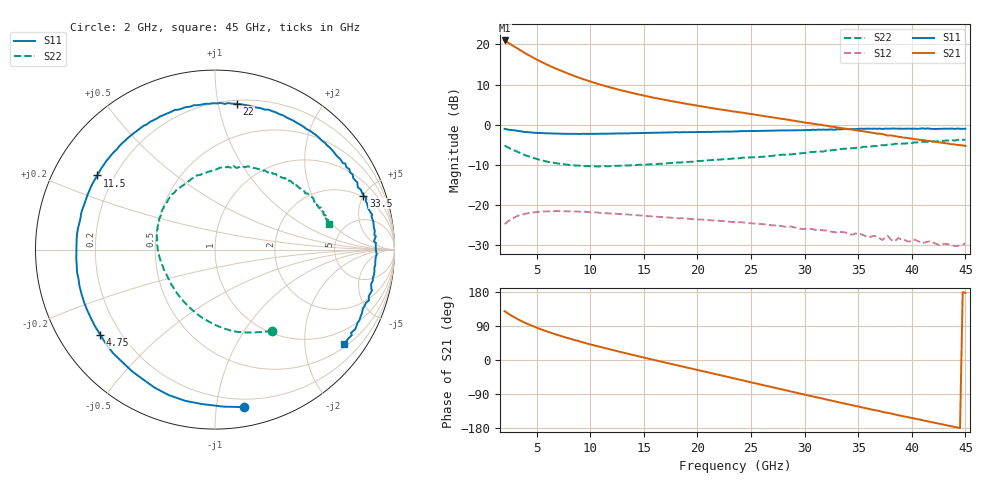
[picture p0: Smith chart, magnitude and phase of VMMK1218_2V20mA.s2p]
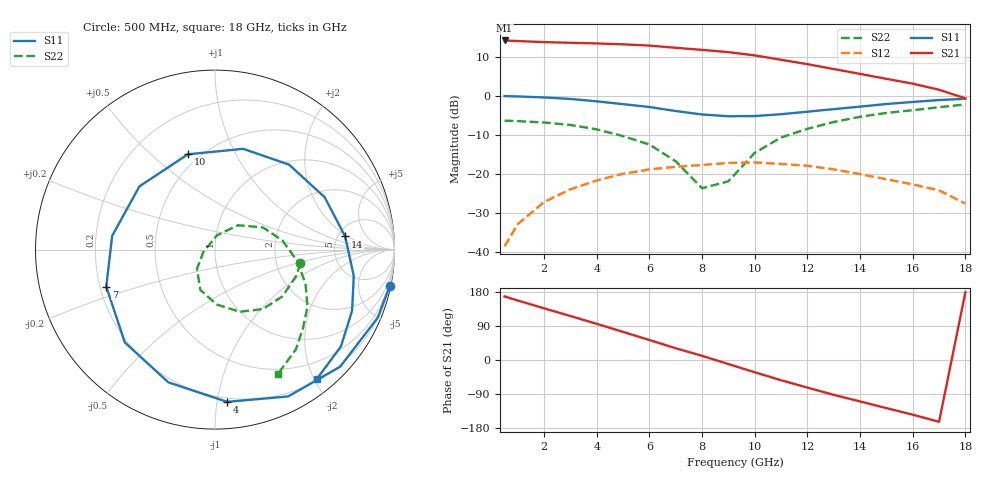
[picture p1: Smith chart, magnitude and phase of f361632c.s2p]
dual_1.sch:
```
<Qucs Schematic 0.0.18>
<Properties>
  <View=-84,-285,1289,1684,1,617,0>
  <Grid=10,10,1>
  <DataSet=dual_1.dat>
  <DataDisplay=dual_1.dpl>
  <OpenDisplay=1>
  <Script=dual_1.m>
  <RunScript=0>
  <showFrame=0>
  <FrameText0=Title>
  <FrameText1=Drawn By:>
  <FrameText2=Date:>
  <FrameText3=Revision:>
</Properties>
<Symbol>
</Symbol>
<Components>
  <SPfile X1 1 310 290 -26 -53 0 0 "VMMK1218_2V20mA.s2p" 1 "rectangular" 0 "linear" 0 "open" 0 "2" 0>
  <TLIN Line3 1 230 290 -26 -68 0 2 "50 Ohm" 1 "2.7 mm" 1 "0 dB" 0 "26.85" 0>
  <TLIN Line6 1 400 210 20 -26 1 3 "50 Ohm" 1 "9.1 mm" 1 "0 dB" 0 "26.85" 0>
  <Pac P1 1 -30 320 18 -26 0 1 "1" 1 "50 Ohm" 1 "0 dBm" 0 "1 GHz" 0 "26.85" 0>
  <GND * 1 -30 350 0 0 0 0>
  <C C3 1 90 290 -26 17 0 0 "10 pF" 1 "" 0 "neutral" 0>
  <TLIN Line16 1 550 80 -26 -68 0 2 "50 Ohm" 1 "6.83 mm" 1 "0 dB" 0 "26.85" 0>
  <TLIN Line17 1 500 130 -86 -26 0 3 "50 Ohm" 1 "6.83 mm" 1 "0 dB" 0 "26.85" 0>
  <GND * 1 120 -120 0 0 0 2>
  <R R6 1 120 0 15 -26 0 1 "50 Ohm" 1 "26.85" 0 "0.0" 0 "0.0" 0 "26.85" 0 "european" 0>
  <C C7 1 120 -90 17 -26 0 1 "100 pF" 1 "" 0 "neutral" 0>
  <TLIN Line22 1 180 80 -26 -68 0 2 "50 Ohm" 1 "6.83 mm" 1 "0 dB" 0 "26.85" 0>
  <R R7 1 260 -50 -26 -47 1 0 "2450 Ohm" 1 "26.85" 0 "0.0" 0 "0.0" 0 "26.85" 0 "european" 0>
  <R R8 1 40 -50 -26 -47 1 0 "550 Ohm" 1 "26.85" 0 "0.0" 0 "0.0" 0 "26.85" 0 "european" 0>
  <GND * 1 10 -50 0 0 0 3>
  <TLIN Line23 1 120 130 -86 -26 0 3 "50 Ohm" 1 "6.83 mm" 1 "0 dB" 0 "26.85" 0>
  <GND * 1 500 -100 0 0 0 2>
  <C C4 1 500 -70 17 -26 0 1 "1nF" 1 "" 0 "neutral" 0>
  <R R1 1 500 50 -71 -26 1 1 "2 Ohm" 1 "26.85" 0 "0.0" 0 "0.0" 0 "26.85" 0 "european" 0>
  <MVIA MS3 1 470 450 20 0 0 0 "RO4350_1" 1 "0.254 mm" 1 "26.85" 0>
  <MVIA MS4 1 470 540 20 0 0 0 "RO4350_1" 1 "0.254 mm" 1 "26.85" 0>
  <TLIN Line5 1 470 290 -26 20 1 2 "50 Ohm" 1 "4 mm" 1 "0 dB" 0 "26.85" 0>
  <MVIA MS1 1 260 540 -123 0 1 2 "RO4350_1" 1 "0.254 mm" 1 "26.85" 0>
  <MVIA MS2 1 260 450 -123 0 1 2 "RO4350_1" 1 "0.254 mm" 1 "26.85" 0>
  <TLIN Line1 1 310 510 20 -26 0 1 "60 Ohm" 1 "0.636 mm" 1 "0 dB" 0 "26.85" 0>
  <TLIN Line2 1 310 420 20 -26 0 1 "60 Ohm" 1 "0.317 mm" 1 "0 dB" 0 "26.85" 0>
  <TLIN Line9 1 370 290 -26 20 1 2 "50 Ohm" 1 "1 mm" 1 "0 dB" 0 "26.85" 0>
  <TLIN Line4 1 180 190 20 -26 0 1 "50 Ohm" 1 "2.57 mm" 1 "0 dB" 0 "26.85" 0>
  <Pac P2 1 1170 320 18 -26 0 1 "2" 1 "50 Ohm" 1 "0 dBm" 0 "1 GHz" 0 "26.85" 0>
  <GND * 1 1170 350 0 0 0 0>
  <SPfile X2 1 800 290 -26 -53 0 0 "f361632c.s2p" 1 "rectangular" 0 "linear" 0 "open" 0 "2" 0>
  <TLIN Line15 1 920 290 -26 -68 0 2 "50 Ohm" 1 "0.5 mm" 1 "0 dB" 0 "26.85" 0>
  <C C2 1 1090 290 -26 17 0 0 "1 pF" 1 "" 0 "neutral" 0>
  <TLIN Line19 1 1060 130 -86 -26 0 3 "50 Ohm" 1 "6.83 mm" 1 "0 dB" 0 "26.85" 0>
  <R R10 1 980 290 -26 -47 1 0 "0 Ohm" 1 "26.85" 0 "0.0" 0 "0.0" 0 "26.85" 0 "european" 0>
  <GND * 1 1000 80 0 0 0 3>
  <C C8 1 1030 80 -26 -49 0 2 "1nF" 1 "" 0 "neutral" 0>
  <GND * 1 650 10 0 0 0 2>
  <R R3 1 650 130 15 -26 0 1 "50 Ohm" 1 "26.85" 0 "0.0" 0 "0.0" 0 "26.85" 0 "european" 0>
  <C C6 1 650 40 17 -26 0 1 "100 pF" 1 "" 0 "neutral" 0>
  <TLIN Line20 1 710 210 -26 -68 0 2 "50 Ohm" 1 "6.83 mm" 1 "0 dB" 0 "26.85" 0>
  <TLIN Line21 1 650 260 -86 -26 0 3 "50 Ohm" 1 "6.83 mm" 1 "0 dB" 0 "26.85" 0>
  <GND * 1 1060 -100 0 0 0 2>
  <C C5 1 1060 -70 17 -26 0 1 "1nF" 1 "" 0 "neutral" 0>
  <TLIN Line18 1 1110 80 -26 20 1 2 "50 Ohm" 1 "6.83 mm" 1 "0 dB" 0 "26.85" 0>
  <R R2 1 1060 50 15 -26 0 1 "2 Ohm" 1 "26.85" 0 "0.0" 0 "0.0" 0 "26.85" 0 "european" 0>
  <TLIN Line13 5 760 350 20 -26 0 1 "56 Ohm" 0 "1.2 mm" 0 "0 dB" 0 "26.85" 0>
  <TLIN Line12 5 800 350 20 -26 0 1 "56 Ohm" 0 "1.2 mm" 0 "0 dB" 0 "26.85" 0>
  <TLIN Line11 5 840 350 20 -26 0 1 "56 Ohm" 0 "1.2 mm" 0 "0 dB" 0 "26.85" 0>
  <MVIA MS8 5 780 380 20 0 0 0 "RO4350_1" 0 "0.254 mm" 0 "26.85" 0>
  <MVIA MS7 5 820 380 20 0 0 0 "RO4350_1" 0 "0.254 mm" 0 "26.85" 0>
  <MVIA MS6 5 860 380 20 0 0 0 "RO4350_1" 0 "0.254 mm" 0 "26.85" 0>
  <TLIN Line14 1 710 290 -26 -68 0 2 "50 Ohm" 1 "5 mm" 1 "0 dB" 0 "26.85" 0>
  <C C1 1 550 290 -26 17 0 0 "1 pF" 1 "" 0 "neutral" 0>
  <MVIA MS5 1 900 380 20 0 0 0 "RO4350_1" 1 "0.254 mm" 1 "26.85" 0>
  <TLIN Line10 1 880 350 20 -26 0 1 "56 Ohm" 1 "1.2 mm" 1 "0 dB" 0 "26.85" 0>
  <SUBST RO4350_1 1 1100 450 -30 24 0 0 "3.48" 1 "0.254 mm" 1 "35 um" 1 "0.004" 1 "0.022e-6" 1 "1.4e-6" 1>
  <Eqn Eqn2 1 660 470 -28 15 0 0 "K=StabFactor(S)" 1 "S11db=dB(S[1,1])" 1 "S21db=dB(S[2,1])" 1 "S22db=dB(S[2,2])" 1 "Fmindb=w2dbm(Fmin)-30" 1 "Fdb=w2dbm(F)-30" 1 "yes" 0>
  <.SP SP3 1 -10 380 0 69 0 0 "lin" 1 "0.03 GHz" 1 "18 GHz" 1 "200" 1 "yes" 0 "1" 0 "2" 0 "no" 0 "no" 0>
  <.SP SP2 0 -10 540 0 69 0 0 "const" 1 "0.03 GHz" 0 "12 GHz" 0 "[11GHz]" 1 "yes" 0 "1" 0 "2" 0 "no" 0 "no" 0>
  <TLIN Line7 1 420 420 20 -26 1 3 "60 Ohm" 0 "0.317 mm" 0 "0 dB" 0 "26.85" 0>
  <TLIN Line8 1 420 510 20 -26 0 1 "60 Ohm" 0 "0.636 mm" 0 "0 dB" 0 "26.85" 0>
  <Eqn Eqn1 0 840 500 -28 15 0 0 "GA=GaCircle(S,linspace(1,20,20))" 1 "GP=GpCircle(S,linspace(1,350,20))" 1 "SL=StabCircleL(S)" 1 "SG=StabCircleS(S)" 1 "NF=NoiseCircle(Sopt,Fmin,Rn,[Fmin,1.2, 1.25, 1.3,1.4,1.5])" 1 "yes" 0>
</Components>
<Wires>
  <260 290 280 290 "" 0 0 0 "">
  <180 290 200 290 "" 0 0 0 "">
  <400 290 440 290 "" 0 0 0 "">
  <400 240 400 290 "" 0 0 0 "">
  <120 290 180 290 "" 0 0 0 "">
  <-30 290 60 290 "" 0 0 0 "">
  <500 80 520 80 "" 0 0 0 "">
  <500 80 500 100 "" 0 0 0 "">
  <120 80 120 100 "" 0 0 0 "">
  <120 80 150 80 "" 0 0 0 "">
  <120 30 120 80 "" 0 0 0 "">
  <120 -60 120 -50 "" 0 0 0 "">
  <120 -50 120 -30 "" 0 0 0 "">
  <120 -50 230 -50 "" 0 0 0 "">
  <70 -50 120 -50 "" 0 0 0 "">
  <500 160 500 290 "" 0 0 0 "">
  <120 160 120 290 "" 0 0 0 "">
  <290 -50 290 80 "" 0 0 0 "">
  <290 80 500 80 "" 0 0 0 "">
  <500 -40 500 20 "" 0 0 0 "">
  <420 450 450 450 "" 0 0 0 "">
  <420 450 420 480 "" 0 0 0 "">
  <420 540 450 540 "" 0 0 0 "">
  <310 320 310 390 "" 0 0 0 "">
  <280 450 310 450 "" 0 0 0 "">
  <310 450 310 480 "" 0 0 0 "">
  <280 540 310 540 "" 0 0 0 "">
  <310 390 420 390 "" 0 0 0 "">
  <180 220 180 290 "" 0 0 0 "">
  <760 320 800 320 "" 0 0 0 "">
  <800 320 840 320 "" 0 0 0 "">
  <830 290 890 290 "" 0 0 0 "">
  <1120 290 1170 290 "" 0 0 0 "">
  <1060 80 1080 80 "" 0 0 0 "">
  <1060 80 1060 100 "" 0 0 0 "">
  <1060 160 1060 290 "" 0 0 0 "">
  <1010 290 1060 290 "" 0 0 0 "">
  <650 210 650 230 "" 0 0 0 "">
  <650 210 680 210 "" 0 0 0 "">
  <650 160 650 210 "" 0 0 0 "">
  <650 70 650 100 "" 0 0 0 "">
  <1060 -40 1060 20 "" 0 0 0 "">
  <650 290 680 290 "" 0 0 0 "">
  <740 290 770 290 "" 0 0 0 "">
  <580 290 650 290 "" 0 0 0 "">
  <500 290 520 290 "" 0 0 0 "">
  <840 320 880 320 "" 0 0 0 "">
</Wires>
<Diagrams>
</Diagrams>
<Paintings>
  <Text 500 -40 12 #000000 0 "Stage 1 Supply (App.2.04V)\nconnected here">
  <Text 650 70 12 #000000 0 "Gate Voltage (app. -0.1V) connected here">
  <Text 860 -30 12 #000000 0 "Stage 1 Supply (App.2.04V)\nconnected here">
  <Text 820 440 12 #ff0000 0 "Deactivate, if simulation other than\nSP2 is used">
  <Text 580 -180 14 #000000 0 "Full Dual Stage Amp with all Using Ideal Transmission Lines">
</Paintings>
```
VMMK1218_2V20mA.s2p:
!Mon 10/Sep/2007 11:11:59
!Comment:  300um GSG cal using PCB - TRL cal standard, VMMK1218
! Vd(V)  IVd(mA)  Vg(V)  IVg(mA)
!2  20.29  0.5799  0
!Freq(GHZ)  S11(mag)  S11(ang)  S21(mag)  S21(ang)  S12(mag)  S12(ang)  S22(mag)  S22(ang)
#  GHZ  S  MA  R  50
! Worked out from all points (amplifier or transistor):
!   173 points, 2 GHz to 45 GHz, reference 50 ohm
!   highest |S21| = 21.0 dB at 2 GHz (marker M1)
!   |S21| within 3 dB of that: start of sweep to 3.814 GHz
!   unconditionally stable (mu >= 1): 18.24 GHz to 18.38 GHz; 18.78 GHz to end of sweep
!   at 9 GHz: K = 0.50, MSG = 16.6 dB, |S12| = -21.6 dB
!   at 23.5 GHz: K = 1.26, MAG = 10.7 dB, |S12| = -24.2 dB
!   at 45 GHz: K = 2.60, MAG = 5.1 dB, |S12| = -29.4 dB
!   lowest NFmin = 0.17 dB at 2 GHz
!   S11 on the Smith chart (normalised r, x): 2 GHz: 0.14, -1.19; 4.75 GHz: 0.13, -0.33; 11.5 GHz: 0.14, +0.28; 22 GHz: 0.23, +1.13; 33.5 GHz: 1.88, +4.99; 45 GHz: 0.57, -2.97
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2  0.8921 -79.6  11.22 128.9  0.058 43.8  0.5531 -54.9
3.25  0.8395 -113.6  8.83 107.5  0.0739 25.0  0.4596 -79.0
4.75  0.7965 -143.3  6.753 87.9  0.0815 9.3  0.3844 -101.3
6  0.7836 -161.7  5.574 74.8  0.0837 -0.7  0.3476 -115.6
7.5  0.7725 -179.1  4.564 61.1  0.0841 -10.9  0.3238 -130.1
11.5  0.776 147.8  3.016 30.4  0.0793 -31.4  0.3055 -160.7
16.25  0.7987 116.8  2.132 -1.9  0.0717 -51.0  0.3244 172.1
22  0.8216 81.6  1.565 -39.2  0.064 -73.0  0.3681 141.0
23.5  0.828 72.2  1.457 -49.1  0.0618 -79.0  0.3819 132.3
33.5  0.8794 20.0  0.9084 -113.5  0.0464 -126.1  0.5012 67.0
45  0.893 -36.1  0.5464 177.1  0.0337 158.3  0.6512 12.7
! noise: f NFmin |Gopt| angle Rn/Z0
2  0.17  0.727  30.9  0.1
3  0.24  0.624  46.2  0.1
5  0.38  0.457  75.8  0.08
7  0.51  0.344  104.1  0.07
8  0.58  0.307  117.8  0.07
10  0.72  0.273  144.3  0.06
12  0.85  0.292  169.6  0.06
13  0.92  0.322  -178.2  0.06
15  1.05  0.421  -154.8  0.06
17  1.19  0.573  -132.6  0.08
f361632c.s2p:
!ATF-36163
!2V 20mA
! last updated 11-10-95
# ghz s ma r 50
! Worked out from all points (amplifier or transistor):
!   19 points, 500 MHz to 18 GHz, reference 50 ohm
!   highest |S21| = 14.2 dB at 500 MHz (marker M1)
!   |S21| within 3 dB of that: start of sweep to 9.017 GHz
!   unconditionally stable (mu >= 1): 10.22 GHz to end of sweep
!   at 3 GHz: K = 0.36, MSG = 18.7 dB, |S12| = -23.9 dB
!   at 9 GHz: K = 0.93, MSG = 14.2 dB, |S12| = -17.1 dB
!   at 18 GHz: K = 1.42, MAG = 9.6 dB, |S12| = -27.5 dB
!   lowest NFmin = 0.52 dB at 2 GHz
!   S11 on the Smith chart (normalised r, x): 500 MHz: 0.29, -9.72; 4 GHz: 0.17, -1.07; 7 GHz: 0.23, -0.16; 10 GHz: 0.43, +0.66; 14 GHz: 5.80, +1.81; 18 GHz: 0.22, -2.03
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0.5  0.994 -11.7  5.108 167.7  0.012 79.2  0.482 -9.1
2  0.955 -43.1  4.867 136.3  0.044 56.0  0.457 -34.8
4  0.851 -85.4  4.68 95.4  0.083 24.4  0.373 -68.2
5  0.784 -109.3  4.557 74.1  0.101 7.2  0.306 -88.3
7  0.64 -161.2  4.116 31.0  0.124 -26.9  0.146 -133.3
9  0.549 140.1  3.622 -10.8  0.139 -54.6  0.081 81.8
10  0.552 105.9  3.29 -32.3  0.141 -69.7  0.187 46.5
12  0.628 48.9  2.544 -72.9  0.128 -96.7  0.379 7.7
14  0.729 5.7  1.909 -109.3  0.1 -117.8  0.54 -20.9
16  0.836 -23.9  1.433 -144.3  0.074 -132.0  0.656 -41.6
18  0.918 -51.9  0.93 178.8  0.042 -146.8  0.778 -63.4
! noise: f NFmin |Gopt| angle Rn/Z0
2  0.52  0.826  28.08  0.393
3  0.57  0.746  41.9  0.323
5  0.66  0.591  72.65  0.2
7  0.76  0.46  105.7  0.115
9  0.88  0.299  140.4  0.077
10  0.94  0.199  174.5  0.079
12  1.09  0.201  -79.72  0.149
14  1.28  0.38  -12.57  0.356
16  1.52  0.613  20.98  0.658
18  1.85  0.758  52.86  1.215
